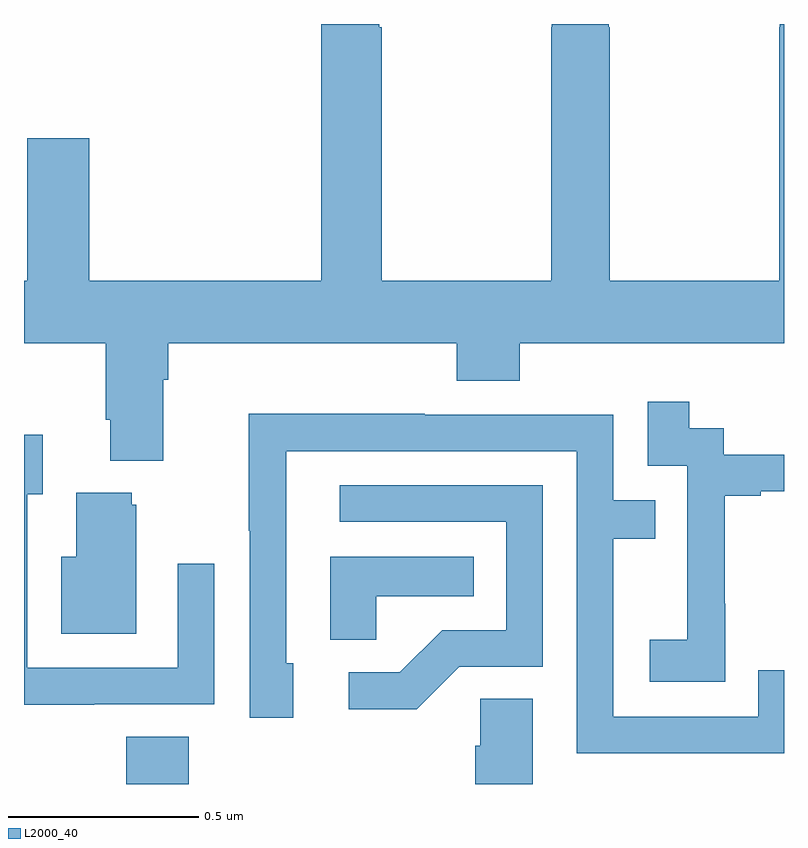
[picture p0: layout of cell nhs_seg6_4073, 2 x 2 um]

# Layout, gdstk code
import gdstk
lib = gdstk.Library(unit=1e-6, precision=1e-09)
def R(c, l, rs):  # rectangles x0, y0, x1, y1
    for r in rs: c.add(gdstk.rectangle(r[:2], r[2:], *l))
def P(c, l, *ps):  # polygons
    for p in ps: c.add(gdstk.Polygon(p, *l))
L2000_40 = (2000, 40)

nhs_seg6_4073 = lib.new_cell('nhs_seg6_4073')
R(nhs_seg6_4073, L2000_40, [(165.269,955.5,165.434,955.625)])
P(nhs_seg6_4073, L2000_40, [(165.367,956.564),(165.38,956.564),(165.38,956.66),(166.139,956.66),(166.139,956.561),(166.304,956.561),(166.304,956.66),(167,956.66),(167,957.5),(166.989,957.5),(166.989,957.491),(166.987,957.491),(166.987,956.824),(166.542,956.824),(166.542,957.491),(166.539,957.491),(166.539,957.5),(166.389,957.5),(166.389,957.491),(166.387,957.491),(166.387,956.824),(165.942,956.824),(165.942,957.491),(165.935,957.491),(165.935,957.5),(165.782,957.5),(165.782,956.824),(165.172,956.824),(165.172,957.199),(165.008,957.199),(165.008,956.824),(165,956.824),(165,956.66),(165.215,956.66),(165.215,956.458),(165.227,956.458),(165.227,956.351),(165.367,956.351)],
  [(166.845,955.975),(166.844,955.975),(166.844,956.259),(166.939,956.259),(166.939,956.271),(167,956.271),(167,956.367),(166.842,956.367),(166.842,956.436),(166.75,956.436),(166.75,956.506),(166.641,956.506),(166.641,956.337),(166.746,956.337),(166.746,956.108),(166.745,956.108),(166.745,955.879),(166.647,955.879),(166.647,955.769),(166.845,955.769)],
  [(167,955.8),(166.932,955.8),(166.932,955.677),(166.551,955.677),(166.551,956.146),(166.661,956.146),(166.661,956.247),(166.551,956.247),(166.551,956.472),(166.055,956.472),(166.055,956.474),(165.592,956.474),(165.592,956.167),(165.594,956.167),(165.594,955.674),(165.709,955.674),(165.709,955.818),(165.69,955.818),(165.69,956.376),(166.455,956.376),(166.455,955.581),(167,955.581)],
  [(165.185,955.71),(165.501,955.71),(165.501,956.08),(165.405,956.08),(165.405,955.806),(165.009,955.806),(165.009,956.263),(165.049,956.263),(165.049,956.419),(165,956.419),(165,955.709),(165.185,955.709)],
  [(166.146,955.809),(166.365,955.809),(166.365,956.286),(165.831,956.286),(165.831,956.19),(166.269,956.19),(166.269,955.905),(166.1,955.905),(165.989,955.794),(165.855,955.794),(165.855,955.697),(166.033,955.697)],
  [(165.295,956.235),(165.284,956.235),(165.284,956.266),(165.137,956.266),(165.137,956.098),(165.098,956.098),(165.098,955.895),(165.295,955.895)],
  [(165.927,955.994),(166.184,955.994),(166.184,956.098),(165.806,956.098),(165.806,955.879),(165.927,955.879)],
  [(166.339,955.724),(166.2,955.724),(166.2,955.601),(166.187,955.601),(166.187,955.5),(166.339,955.5)])

lib.write_gds('nhs_seg6_4073.gds')
